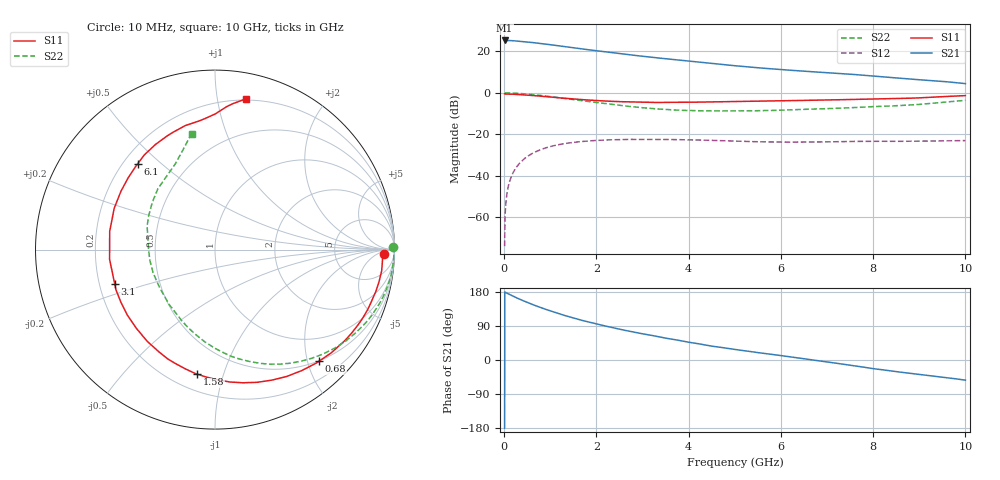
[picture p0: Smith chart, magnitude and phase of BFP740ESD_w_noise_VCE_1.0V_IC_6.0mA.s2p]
! Infineon Technologies  Discrete & RF Semiconductors
! BFP740ESD
! VCE =  1.0 V,  IC =  6.0 mA
! Common Emitter S-Parameters:  Jan 2016
# GHz  S  MA  R  50
!  f  S11  S21  S12  S22
! GHz  MAG  ANG  MAG  ANG  MAG  ANG  MAG  ANG
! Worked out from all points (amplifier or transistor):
!   233 points, 10 MHz to 10 GHz, reference 50 ohm
!   highest |S21| = 25.3 dB at 10 MHz (marker M1)
!   |S21| within 3 dB of that: start of sweep to 1.328 GHz
!   unconditionally stable (mu >= 1): 5.713 GHz to 9.565 GHz
!   at 200 MHz: K = 0.05, MSG = 31.7 dB, |S12| = -38.3 dB
!   at 1.74 GHz: K = 0.30, MSG = 22.2 dB, |S12| = -23.4 dB
!   at 10 GHz: K = 0.82, MSG = 13.7 dB, |S12| = -23.0 dB
!   lowest NFmin = 0.54 dB at 450 MHz
!   S11 on the Smith chart (normalised r, x): 10 MHz: 28, -12; 680 MHz: 0.49, -2.21; 1.58 GHz: 0.30, -0.82; 3.1 GHz: 0.26, -0.15; 6.1 GHz: 0.26, +0.42; 10 GHz: 0.19, +1.21
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0.01  0.9417 -1.5  18.34 -179.9  0.0002 101.3  0.9899 0.9
0.02  0.9352 -1.5  18.12 179.2  0.0011 91.4  0.9964 -1.0
0.065  0.9351 -4.8  18.21 176.1  0.004 87.8  0.9962 -3.4
0.15  0.9316 -10.9  18.19 171.0  0.0092 83.3  0.9914 -8.1
0.3  0.9138 -21.5  17.72 162.4  0.018 76.4  0.9717 -16.0
0.48  0.8862 -33.7  16.94 153.0  0.028 68.8  0.9377 -24.9
0.68  0.8505 -46.9  16.03 143.4  0.0377 60.7  0.8916 -34.3
0.9  0.812 -60.5  14.98 133.7  0.047 52.7  0.8376 -44.0
1.1  0.7761 -72.3  14.03 125.6  0.0539 46.1  0.7855 -52.3
1.3  0.7423 -83.6  13.12 117.9  0.0595 40.0  0.735 -60.2
1.58  0.7011 -98.1  11.91 108.1  0.0652 32.5  0.669 -70.2
1.68  0.6873 -102.9  11.52 104.9  0.067 30.2  0.6478 -73.5
2  0.6531 -117.5  10.35 95.3  0.0711 23.2  0.5855 -83.8
2.4  0.62 -134.9  9.128 84.0  0.0743 15.6  0.5158 -96.5
3.1  0.5903 -161.3  7.411 67.1  0.0754 5.1  0.4273 -117.8
3.4  0.5869 -171.4  6.827 60.2  0.0751 1.5  0.4037 -126.8
4  0.5955 170.2  5.86 46.9  0.0739 -4.8  0.3749 -145.0
5.1  0.6179 146.6  4.405 26.2  0.068 -12.0  0.3674 -172.5
6.1  0.6437 132.0  3.576 10.0  0.0647 -13.6  0.3842 167.7
6.8  0.666 122.3  3.162 -1.7  0.0653 -14.3  0.4084 155.9
8.4  0.7213 97.4  2.337 -29.1  0.0677 -19.3  0.4824 125.7
10  0.8571 78.5  1.67 -53.2  0.0706 -23.8  0.6595 101.4
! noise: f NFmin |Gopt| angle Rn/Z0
0.45  0.54  0.36  5  0.15
0.9  0.56  0.36  16  0.12
1.9  0.59  0.32  31  0.1
2.4  0.66  0.27  49  0.12
5.5  0.9  0.24  -167  0.11
10  1.83  0.61  -93  0.58
